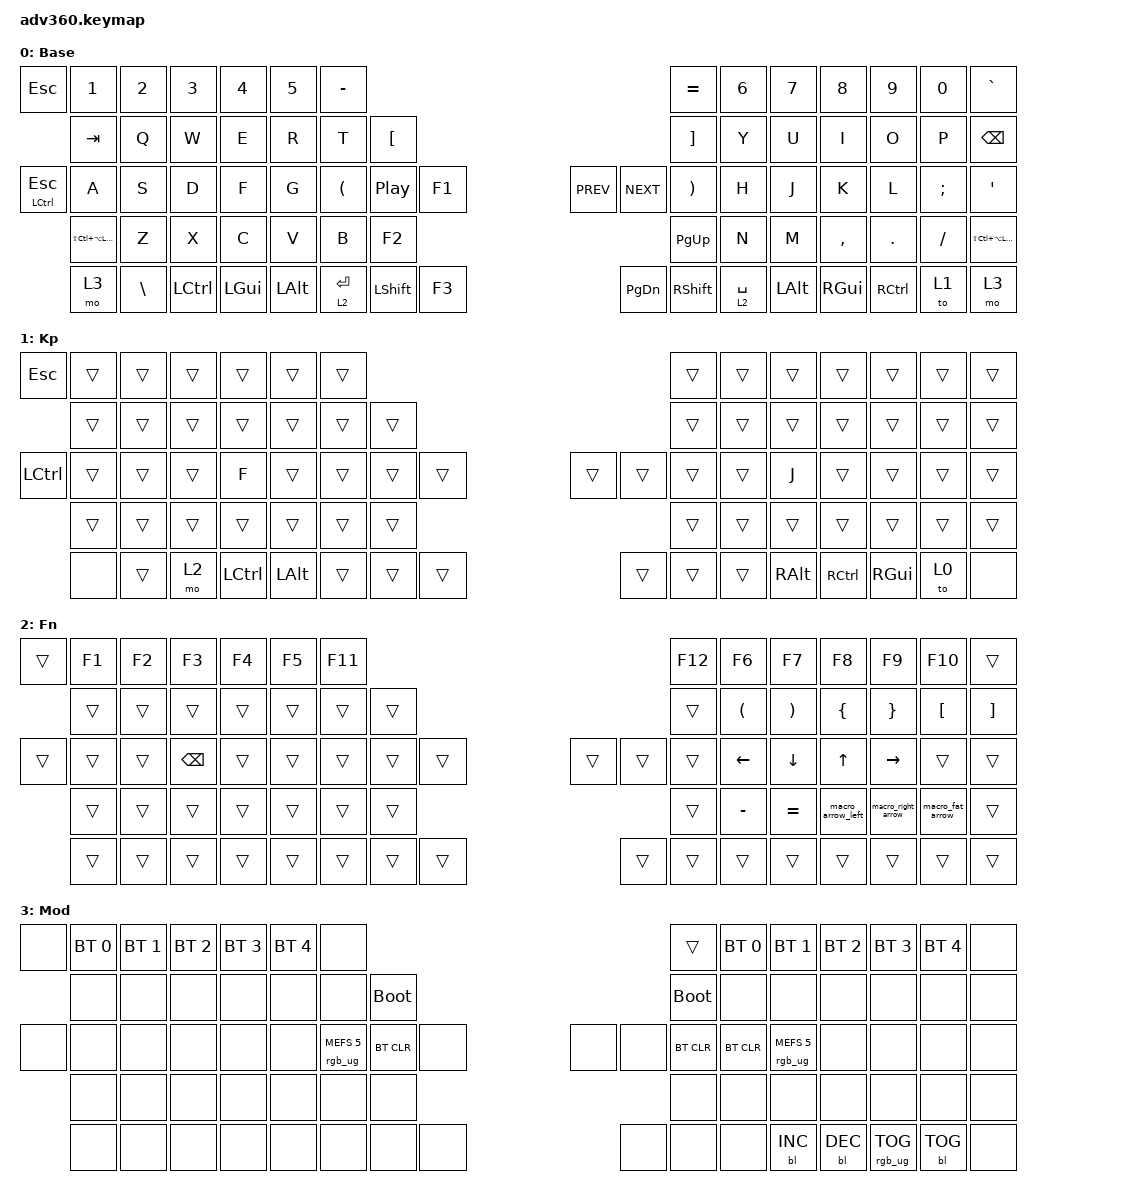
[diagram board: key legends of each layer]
#include <behaviors.dtsi>
#include <dt-bindings/zmk/keys.h>
#include <dt-bindings/zmk/bt.h>
#include <dt-bindings/zmk/rgb.h>
#include <dt-bindings/zmk/stp.h>
#include <dt-bindings/zmk/backlight.h>
#include <dt-bindings/zmk/pointing.h>

#define HYP(key) LS(LC(LA(LG(key))))
#define HYPER    LS(LC(LA(LGUI)))

&mt {
    tapping-term-ms = <200>;
    flavor = "balanced";
};

/ {
    behaviors {
      #include "macros.dtsi"
      #include "version.dtsi"

      hm: homerow_mods {
          compatible = "zmk,behavior-hold-tap";
          label = "HOMEROW_MODS";
          #binding-cells = <2>;
          tapping-term-ms = <200>;
          quick_tap_ms = <175>;
          flavor = "tap-preferred";
          bindings = <&kp>, <&kp>;
      };
    };

  keymap {
    compatible = "zmk,keymap";

    default_layer {
      display-name = "Base";
      bindings = <
        &kp ESC         &kp N1     &kp N2        &kp N3        &kp N4  &kp N5                       &kp MINUS                                                                                        &kp EQUAL  &kp N6        &kp N7         &kp N8     &kp N9         &kp N0         &kp GRAVE
        &kp TAB          &kp Q      &kp W         &kp E         &kp R   &kp T                &kp LEFT_BRACKET                                                                                &kp RIGHT_BRACKET   &kp Y         &kp U          &kp I      &kp O          &kp P     &kp BACKSPACE
  &mt LCTRL ESC          &kp A      &kp S         &kp D         &kp F   &kp G            &kp LEFT_PARENTHESIS  &kp C_PLAY_PAUSE  &kp F1                     &kp C_PREV       &kp C_NEXT  &kp RIGHT_PARENTHESIS   &kp H         &kp J          &kp K      &kp L  &kp SEMICOLON  &kp SINGLE_QUOTE
      &kp HYPER          &kp Z      &kp X         &kp C         &kp V   &kp B                                                    &kp F2                    &kp PAGE_UP                                           &kp N         &kp M      &kp COMMA    &kp DOT      &kp SLASH         &kp HYPER
          &mo 3  &kp BACKSLASH  &kp LCTRL  &kp LEFT_GUI  &kp LEFT_ALT                             &lt 2 ENTER    &kp LEFT_SHIFT  &kp F3                  &kp PAGE_DOWN  &kp RIGHT_SHIFT            &lt 2 SPACE          &kp LEFT_ALT  &kp RIGHT_GUI  &kp RCTRL          &to 1             &mo 3
            >;
    };
    keypad {
      display-name = "Kp";
      bindings = <
          &kp ESC  &trans  &trans  &trans        &trans  &trans            &trans                                                  &trans  &trans         &trans  &trans     &trans         &trans  &trans
           &trans  &trans  &trans  &trans        &trans  &trans            &trans                                                  &trans  &trans         &trans  &trans     &trans         &trans  &trans
 &kp LEFT_CONTROL  &trans  &trans  &trans         &kp F  &trans            &trans  &trans  &trans                  &trans  &trans  &trans  &trans          &kp J  &trans     &trans         &trans  &trans
           &trans  &trans  &trans  &trans        &trans  &trans                            &trans                  &trans                  &trans         &trans  &trans     &trans         &trans  &trans
            &none  &trans  &mo 2   &kp LCTRL     &kp LEFT_ALT              &trans  &trans  &trans                  &trans  &trans  &trans          &kp RIGHT_ALT  &kp RCTRL  &kp RIGHT_GUI  &to 0   &none
            >;
    };
    fn {
      display-name = "Fn";
      bindings = <
          &trans  &kp F1  &kp F2         &kp F3  &kp F4  &kp F5            &kp F11                                                  &kp F12                &kp F6                 &kp F7                 &kp F8                 &kp F9           &kp F10             &trans
          &trans  &trans  &trans         &trans  &trans  &trans             &trans                                                   &trans  &kp LEFT_PARENTHESIS  &kp RIGHT_PARENTHESIS         &kp LEFT_BRACE        &kp RIGHT_BRACE  &kp LEFT_BRACKET  &kp RIGHT_BRACKET
          &trans  &trans  &trans  &kp BACKSPACE  &trans  &trans             &trans  &trans  &trans                  &trans  &trans   &trans              &kp LEFT               &kp DOWN                 &kp UP              &kp RIGHT            &trans             &trans
          &trans  &trans  &trans         &trans  &trans  &trans                             &trans                  &trans                              &kp MINUS              &kp EQUAL      &macro_arrow_left     &macro_right_arrow  &macro_fat_arrow             &trans
          &trans  &trans  &trans         &trans  &trans                     &trans  &trans  &trans                  &trans  &trans   &trans                                       &trans                 &trans                 &trans            &trans             &trans
            >;
    };
    mod {
      display-name = "Mod";
      bindings = <
          &none  &bt BT_SEL 0  &bt BT_SEL 1  &bt BT_SEL 2  &bt BT_SEL 3  &bt BT_SEL 4                             &none                                                           &trans  &bt BT_SEL 0            &bt BT_SEL 1  &bt BT_SEL 2     &bt BT_SEL 3  &bt BT_SEL 4   &none
          &none         &none         &none         &none         &none         &none                       &bootloader                                                      &bootloader         &none                   &none         &none            &none         &none   &none
          &none         &none         &none         &none         &none         &none            &rgb_ug RGB_MEFS_CMD 5  &bt BT_CLR   &none                   &none   &none   &bt BT_CLR    &bt BT_CLR  &rgb_ug RGB_MEFS_CMD 5         &none            &none         &none   &none
          &none         &none         &none         &none         &none         &none                                                 &none                   &none                              &none                   &none         &none            &none         &none   &none
          &none         &none         &none         &none         &none                                           &none       &none   &none                   &none   &none        &none                            &bl BL_INC    &bl BL_DEC  &rgb_ug RGB_TOG    &bl BL_TOG   &none
            >;
    };
    extra1 { 
      display-name = "Red";    
      status = "reserved";
    };

    extra2 { 
      display-name = "Purple";    
      status = "reserved";
    };

    extra3 { 
      display-name = "Cyan";    
      status = "reserved";
    };

    extra4 { 
      display-name = "Yellow";    
      status = "reserved";
    };
  };
};
